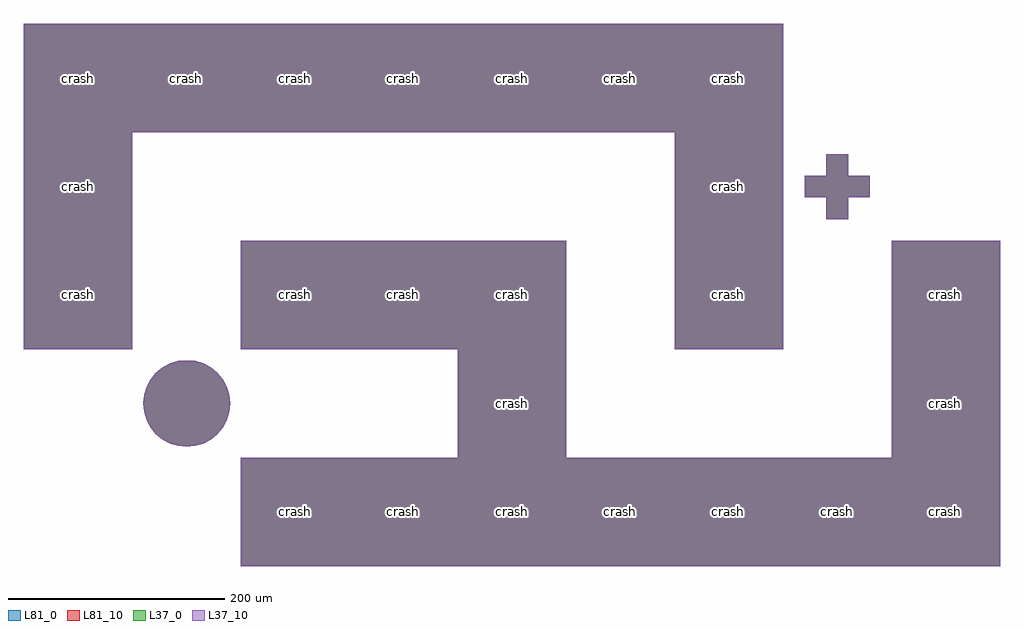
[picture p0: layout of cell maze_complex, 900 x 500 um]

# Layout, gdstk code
import gdstk
lib = gdstk.Library(unit=1e-6, precision=1e-09)
def R(c, l, rs):  # rectangles x0, y0, x1, y1
    for r in rs: c.add(gdstk.rectangle(r[:2], r[2:], *l))
def A(c, l, x, y, w, h, nx, ny, dx, dy):  # array of equal rectangles
    R(c, l, [(x+i*dx, y+j*dy, x+i*dx+w, y+j*dy+h) for i in range(nx) for j in range(ny)])
def P(c, l, *ps):  # polygons
    for p in ps: c.add(gdstk.Polygon(p, *l))
L37_0 = (37, 0)
L37_10 = (37, 10)
L81_0 = (81, 0)
L81_10 = (81, 10)

maze_complex = lib.new_cell('maze_complex')
A(maze_complex, L37_0, 2200, 400, 100, 100, 7, 1, 100, 0)
A(maze_complex, L37_0, 2200, 600, 100, 100, 3, 1, 100, 0)
A(maze_complex, L37_0, 2000, 800, 100, 100, 7, 1, 100, 0)
R(maze_complex, L37_0, [(2400,500,2500,600), (2800,500,2900,600), (2000,600,2100,700), (2600,600,2700,700), (2800,600,2900,700), (2000,700,2100,800), (2600,700,2700,800), (2740,720,2760,780), (2720,740,2780,760)])
P(maze_complex, L37_0, [(2150,510),(2142.197,510.769),(2134.693,513.045),(2127.778,516.742),(2121.716,521.716),(2116.742,527.778),(2113.045,534.693),(2110.769,542.197),(2110,550),(2110.769,557.803),(2113.045,565.307),(2116.742,572.222),(2121.716,578.284),(2127.778,583.258),(2134.693,586.955),(2142.197,589.231),(2150,590),(2157.803,589.231),(2165.307,586.955),(2172.222,583.258),(2178.284,578.284),(2183.258,572.222),(2186.955,565.307),(2189.231,557.803),(2190,550),(2189.231,542.197),(2186.955,534.693),(2183.258,527.778),(2178.284,521.716),(2172.222,516.742),(2165.307,513.045),(2157.803,510.769)])
A(maze_complex, L37_10, 2200, 400, 100, 100, 7, 1, 100, 0)
A(maze_complex, L37_10, 2200, 600, 100, 100, 3, 1, 100, 0)
A(maze_complex, L37_10, 2000, 800, 100, 100, 7, 1, 100, 0)
R(maze_complex, L37_10, [(2400,500,2500,600), (2800,500,2900,600), (2000,600,2100,700), (2600,600,2700,700), (2800,600,2900,700), (2000,700,2100,800), (2600,700,2700,800), (2740,720,2760,780), (2720,740,2780,760)])
P(maze_complex, L37_10, [(2150,510),(2142.197,510.769),(2134.693,513.045),(2127.778,516.742),(2121.716,521.716),(2116.742,527.778),(2113.045,534.693),(2110.769,542.197),(2110,550),(2110.769,557.803),(2113.045,565.307),(2116.742,572.222),(2121.716,578.284),(2127.778,583.258),(2134.693,586.955),(2142.197,589.231),(2150,590),(2157.803,589.231),(2165.307,586.955),(2172.222,583.258),(2178.284,578.284),(2183.258,572.222),(2186.955,565.307),(2189.231,557.803),(2190,550),(2189.231,542.197),(2186.955,534.693),(2183.258,527.778),(2178.284,521.716),(2172.222,516.742),(2165.307,513.045),(2157.803,510.769)])
A(maze_complex, L81_0, 2200, 400, 100, 100, 7, 1, 100, 0)
A(maze_complex, L81_0, 2200, 600, 100, 100, 3, 1, 100, 0)
A(maze_complex, L81_0, 2000, 800, 100, 100, 7, 1, 100, 0)
R(maze_complex, L81_0, [(2400,500,2500,600), (2800,500,2900,600), (2000,600,2100,700), (2600,600,2700,700), (2800,600,2900,700), (2000,700,2100,800), (2600,700,2700,800), (2740,720,2760,780), (2720,740,2780,760)])
P(maze_complex, L81_0, [(2150,510),(2142.197,510.769),(2134.693,513.045),(2127.778,516.742),(2121.716,521.716),(2116.742,527.778),(2113.045,534.693),(2110.769,542.197),(2110,550),(2110.769,557.803),(2113.045,565.307),(2116.742,572.222),(2121.716,578.284),(2127.778,583.258),(2134.693,586.955),(2142.197,589.231),(2150,590),(2157.803,589.231),(2165.307,586.955),(2172.222,583.258),(2178.284,578.284),(2183.258,572.222),(2186.955,565.307),(2189.231,557.803),(2190,550),(2189.231,542.197),(2186.955,534.693),(2183.258,527.778),(2178.284,521.716),(2172.222,516.742),(2165.307,513.045),(2157.803,510.769)])
A(maze_complex, L81_10, 2200, 400, 100, 100, 7, 1, 100, 0)
A(maze_complex, L81_10, 2200, 600, 100, 100, 3, 1, 100, 0)
A(maze_complex, L81_10, 2000, 800, 100, 100, 7, 1, 100, 0)
R(maze_complex, L81_10, [(2400,500,2500,600), (2800,500,2900,600), (2000,600,2100,700), (2600,600,2700,700), (2800,600,2900,700), (2000,700,2100,800), (2600,700,2700,800), (2740,720,2760,780), (2720,740,2780,760)])
P(maze_complex, L81_10, [(2150,510),(2142.197,510.769),(2134.693,513.045),(2127.778,516.742),(2121.716,521.716),(2116.742,527.778),(2113.045,534.693),(2110.769,542.197),(2110,550),(2110.769,557.803),(2113.045,565.307),(2116.742,572.222),(2121.716,578.284),(2127.778,583.258),(2134.693,586.955),(2142.197,589.231),(2150,590),(2157.803,589.231),(2165.307,586.955),(2172.222,583.258),(2178.284,578.284),(2183.258,572.222),(2186.955,565.307),(2189.231,557.803),(2190,550),(2189.231,542.197),(2186.955,534.693),(2183.258,527.778),(2178.284,521.716),(2172.222,516.742),(2165.307,513.045),(2157.803,510.769)])
maze_complex.add(gdstk.Label('crash', (2050,850), layer=81, texttype=10))
maze_complex.add(gdstk.Label('crash', (2150,850), layer=81, texttype=10))
maze_complex.add(gdstk.Label('crash', (2250,850), layer=81, texttype=10))
maze_complex.add(gdstk.Label('crash', (2350,850), layer=81, texttype=10))
maze_complex.add(gdstk.Label('crash', (2450,850), layer=81, texttype=10))
maze_complex.add(gdstk.Label('crash', (2550,850), layer=81, texttype=10))
maze_complex.add(gdstk.Label('crash', (2650,850), layer=81, texttype=10))
maze_complex.add(gdstk.Label('crash', (2050,750), layer=81, texttype=10))
maze_complex.add(gdstk.Label('crash', (2650,750), layer=81, texttype=10))
maze_complex.add(gdstk.Label('crash', (2050,650), layer=81, texttype=10))
maze_complex.add(gdstk.Label('crash', (2250,650), layer=81, texttype=10))
maze_complex.add(gdstk.Label('crash', (2350,650), layer=81, texttype=10))
maze_complex.add(gdstk.Label('crash', (2450,650), layer=81, texttype=10))
maze_complex.add(gdstk.Label('crash', (2650,650), layer=81, texttype=10))
maze_complex.add(gdstk.Label('crash', (2850,650), layer=81, texttype=10))
maze_complex.add(gdstk.Label('crash', (2450,550), layer=81, texttype=10))
maze_complex.add(gdstk.Label('crash', (2850,550), layer=81, texttype=10))
maze_complex.add(gdstk.Label('crash', (2250,450), layer=81, texttype=10))
maze_complex.add(gdstk.Label('crash', (2350,450), layer=81, texttype=10))
maze_complex.add(gdstk.Label('crash', (2450,450), layer=81, texttype=10))
maze_complex.add(gdstk.Label('crash', (2550,450), layer=81, texttype=10))
maze_complex.add(gdstk.Label('crash', (2650,450), layer=81, texttype=10))
maze_complex.add(gdstk.Label('crash', (2750,450), layer=81, texttype=10))
maze_complex.add(gdstk.Label('crash', (2850,450), layer=81, texttype=10))
maze_complex.add(gdstk.Label('crash', (2050,850), layer=37, texttype=10))
maze_complex.add(gdstk.Label('crash', (2150,850), layer=37, texttype=10))
maze_complex.add(gdstk.Label('crash', (2250,850), layer=37, texttype=10))
maze_complex.add(gdstk.Label('crash', (2350,850), layer=37, texttype=10))
maze_complex.add(gdstk.Label('crash', (2450,850), layer=37, texttype=10))
maze_complex.add(gdstk.Label('crash', (2550,850), layer=37, texttype=10))
maze_complex.add(gdstk.Label('crash', (2650,850), layer=37, texttype=10))
maze_complex.add(gdstk.Label('crash', (2050,750), layer=37, texttype=10))
maze_complex.add(gdstk.Label('crash', (2650,750), layer=37, texttype=10))
maze_complex.add(gdstk.Label('crash', (2050,650), layer=37, texttype=10))
maze_complex.add(gdstk.Label('crash', (2250,650), layer=37, texttype=10))
maze_complex.add(gdstk.Label('crash', (2350,650), layer=37, texttype=10))
maze_complex.add(gdstk.Label('crash', (2450,650), layer=37, texttype=10))
maze_complex.add(gdstk.Label('crash', (2650,650), layer=37, texttype=10))
maze_complex.add(gdstk.Label('crash', (2850,650), layer=37, texttype=10))
maze_complex.add(gdstk.Label('crash', (2450,550), layer=37, texttype=10))
maze_complex.add(gdstk.Label('crash', (2850,550), layer=37, texttype=10))
maze_complex.add(gdstk.Label('crash', (2250,450), layer=37, texttype=10))
maze_complex.add(gdstk.Label('crash', (2350,450), layer=37, texttype=10))
maze_complex.add(gdstk.Label('crash', (2450,450), layer=37, texttype=10))
maze_complex.add(gdstk.Label('crash', (2550,450), layer=37, texttype=10))
maze_complex.add(gdstk.Label('crash', (2650,450), layer=37, texttype=10))
maze_complex.add(gdstk.Label('crash', (2750,450), layer=37, texttype=10))
maze_complex.add(gdstk.Label('crash', (2850,450), layer=37, texttype=10))

lib.write_gds('maze_complex.gds')
